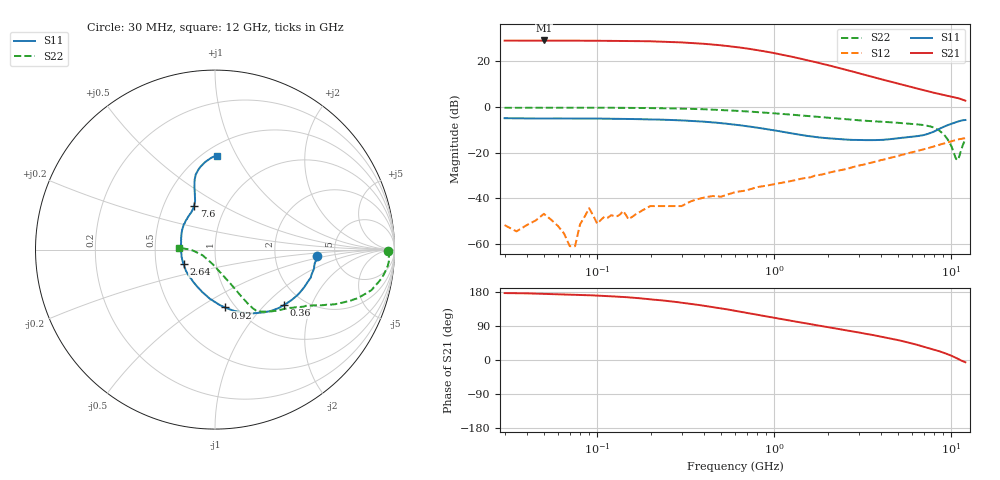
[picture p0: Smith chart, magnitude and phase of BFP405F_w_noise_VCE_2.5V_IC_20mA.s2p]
! Infineon Technologies  Discrete & RF Semiconductors
! BFP405F
! VCE =  2.5 V,  IC =  20 mA
! Common Emitter S-Parameters:  Nov 2015
# GHz  S  MA  R  50
!  f  S11  S21  S12  S22
! GHz  MAG  ANG  MAG  ANG  MAG  ANG  MAG  ANG
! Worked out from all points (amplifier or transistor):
!   239 points, 30 MHz to 12 GHz, reference 50 ohm
!   highest |S21| = 29.2 dB at 50 MHz (marker M1)
!   |S21| within 3 dB of that: start of sweep to 624.5 MHz
!   unconditionally stable (mu >= 1): 73.69 MHz to 76.11 MHz; 1.582 GHz to end of sweep
!   at 300 MHz: K = 0.31, MSG = 35.8 dB, |S12| = -43.3 dB
!   at 1.88 GHz: K = 1.08, MAG = 22.5 dB, |S12| = -29.4 dB
!   at 12 GHz: K = 1.39, MAG = 4.5 dB, |S12| = -13.6 dB
!   lowest NFmin = 2.24 dB at 450 MHz
!   S11 on the Smith chart (normalised r, x): 30 MHz: 3.63, -0.38; 360 MHz: 1.59, -1.30; 920 MHz: 0.90, -0.65; 2.64 GHz: 0.69, -0.12; 7.6 GHz: 0.71, +0.37; 12 GHz: 0.58, +0.84
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0.03  0.572 -3.5  28.65 176.6  0.0026 15.1  0.9665 -0.4
0.04  0.5657 -4.3  28.7 175.9  0.0026 104.2  0.9683 -0.5
0.05  0.5628 -5.3  28.88 174.5  0.0046 150.0  0.9703 -0.8
0.07  0.5616 -7.4  28.62 172.4  0.0009 -147.3  0.9709 -2.0
0.085  0.5609 -9.9  28.51 171.2  0.004 72.8  0.969 -3.0
0.15  0.5512 -17.6  28.16 165.4  0.0035 98.4  0.9641 -5.8
0.2  0.5392 -23.0  27.7 160.1  0.0068 86.0  0.9535 -7.9
0.24  0.5294 -27.1  27.01 156.6  0.0068 81.2  0.9449 -9.3
0.3  0.5119 -33.1  26.15 151.2  0.0068 82.6  0.9275 -11.4
0.36  0.4928 -38.9  25.07 146.4  0.0094 76.8  0.9102 -13.3
0.46  0.4604 -48.0  23.32 138.9  0.0112 73.9  0.8772 -16.1
0.6  0.4133 -59.3  20.84 129.8  0.0137 73.9  0.8342 -19.1
0.7  0.3832 -66.3  19.28 124.4  0.0151 73.5  0.8054 -20.7
0.92  0.3268 -80.3  16.19 114.4  0.0193 70.7  0.7498 -23.6
1.3  0.2591 -101.2  12.36 101.7  0.0249 69.9  0.6757 -27.3
1.64  0.2262 -117.2  10.06 93.8  0.0301 70.1  0.6275 -29.8
2.04  0.2072 -134.5  8.192 86.1  0.0368 70.1  0.5828 -33.1
2.64  0.1932 -155.2  6.309 77.1  0.0458 69.3  0.5343 -37.4
4.5  0.1989 161.9  3.643 57.2  0.0773 63.0  0.4678 -47.3
7.6  0.2708 115.5  2.157 30.4  0.1307 50.3  0.378 -57.6
10.8  0.4781 98.3  1.588 4.0  0.1943 31.6  0.0693 -132.0
12  0.5231 88.8  1.386 -5.9  0.2095 24.8  0.1989 177.3
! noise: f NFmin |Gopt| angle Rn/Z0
0.45  2.24  0.02  -18  0.47
0.9  2.25  0.01  -90  0.3
1.5  2.31  0.03  -114  0.38
1.9  2.38  0.04  -120  0.52
2.4  2.53  0.05  -120  0.18
3  2.62  0.07  -120  0.16
3.5  2.7  0.09  -118  0.22
4.5  2.94  0.14  -105  0.5
5.5  3.27  0.24  -88  0.52
